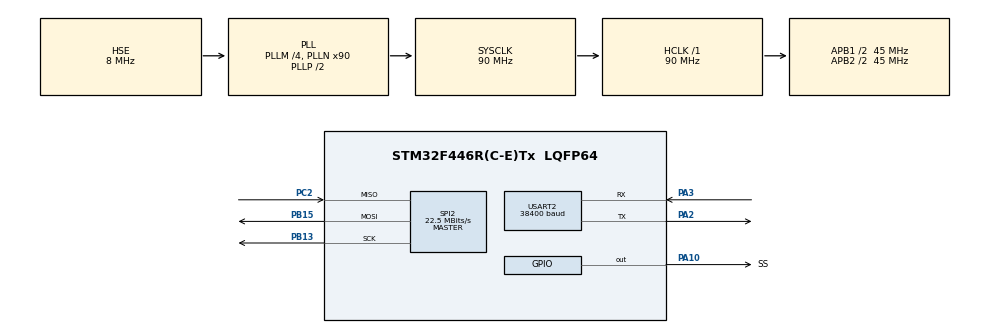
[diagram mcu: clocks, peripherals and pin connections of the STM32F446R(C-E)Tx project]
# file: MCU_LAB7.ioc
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Dma.Request0=SPI2_TX
Dma.Request1=USART2_RX
Dma.SPI2_TX.0.Direction=DMA_MEMORY_TO_PERIPH
Dma.SPI2_TX.0.FIFOMode=DMA_FIFOMODE_DISABLE
Dma.SPI2_TX.0.Instance=DMA1_Stream4
Dma.SPI2_TX.0.MemDataAlignment=DMA_MDATAALIGN_BYTE
Dma.SPI2_TX.0.MemInc=DMA_MINC_ENABLE
Dma.SPI2_TX.0.Mode=DMA_NORMAL
Dma.SPI2_TX.0.PeriphDataAlignment=DMA_PDATAALIGN_BYTE
Dma.SPI2_TX.0.PeriphInc=DMA_PINC_DISABLE
Dma.SPI2_TX.0.Priority=DMA_PRIORITY_LOW
Dma.USART2_RX.1.Direction=DMA_PERIPH_TO_MEMORY
Dma.USART2_RX.1.FIFOMode=DMA_FIFOMODE_DISABLE
Dma.USART2_RX.1.Instance=DMA1_Stream5
Dma.USART2_RX.1.MemDataAlignment=DMA_MDATAALIGN_BYTE
Dma.USART2_RX.1.MemInc=DMA_MINC_ENABLE
Dma.USART2_RX.1.Mode=DMA_NORMAL
Dma.USART2_RX.1.PeriphDataAlignment=DMA_PDATAALIGN_BYTE
Dma.USART2_RX.1.PeriphInc=DMA_PINC_DISABLE
Dma.USART2_RX.1.Priority=DMA_PRIORITY_LOW
Mcu.Family=STM32F4
Mcu.Name=STM32F446R(C-E)Tx
Mcu.Package=LQFP64
NVIC.DMA1_Stream4_IRQn=true\:0\:0\:false\:false\:true\:false\:true\:true
NVIC.DMA1_Stream5_IRQn=true\:0\:0\:false\:false\:true\:false\:true\:true
NVIC.PriorityGroup=NVIC_PRIORITYGROUP_4
NVIC.TIM1_BRK_TIM9_IRQn=true\:0\:0\:false\:false\:true\:true\:true\:true
NVIC.TIM1_CC_IRQn=true\:0\:0\:false\:false\:true\:true\:true\:true
NVIC.TIM1_TRG_COM_TIM11_IRQn=true\:0\:0\:false\:false\:true\:true\:true\:true
NVIC.TIM1_UP_TIM10_IRQn=true\:0\:0\:false\:false\:true\:true\:true\:true
PA10.GPIO_Label=SS
PA10.Signal=GPIO_Output
PA2.Mode=Asynchronous
PA2.Signal=USART2_TX
PA3.Mode=Asynchronous
PA3.Signal=USART2_RX
PB13.Mode=Full_Duplex_Master
PB13.Signal=SPI2_SCK
PB15.Mode=Full_Duplex_Master
PB15.Signal=SPI2_MOSI
PC2.Mode=Full_Duplex_Master
PC2.Signal=SPI2_MISO
PH0-OSC_IN.Mode=HSE-External-Oscillator
PH0-OSC_IN.Signal=RCC_OSC_IN
PH1-OSC_OUT.Mode=HSE-External-Oscillator
PH1-OSC_OUT.Signal=RCC_OSC_OUT
ProjectManager.HeapSize=0x200
ProjectManager.StackSize=0x400
ProjectManager.TargetToolchain=STM32CubeIDE
RCC.AHBFreq_Value=90000000
RCC.APB1CLKDivider=RCC_HCLK_DIV2
RCC.APB1Freq_Value=45000000
RCC.APB1TimFreq_Value=90000000
RCC.APB2CLKDivider=RCC_HCLK_DIV2
RCC.APB2Freq_Value=45000000
RCC.APB2TimFreq_Value=90000000
RCC.CortexFreq_Value=90000000
RCC.HCLKFreq_Value=90000000
RCC.HSE_VALUE=8000000
RCC.PLLM=4
RCC.PLLN=90
RCC.PLLSourceVirtual=RCC_PLLSOURCE_HSE
RCC.SYSCLKFreq_VALUE=90000000
RCC.SYSCLKSource=RCC_SYSCLKSOURCE_PLLCLK
RCC.USBFreq_Value=90000000
RCC.VCOOutputFreq_Value=180000000
SPI2.BaudRatePrescaler=SPI_BAUDRATEPRESCALER_2
SPI2.CalculateBaudRate=22.5 MBits/s
SPI2.Direction=SPI_DIRECTION_2LINES
SPI2.Mode=SPI_MODE_MASTER
SPI2.VirtualType=VM_MASTER
TIM1.Period=50000-1
TIM1.Prescaler=1800-1
USART2.BaudRate=38400
USART2.VirtualMode=VM_ASYNC
VP_TIM1_VS_ClockSourceINT.Mode=Internal
board=custom

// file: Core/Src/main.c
/* USER CODE BEGIN Header */
/**
  ******************************************************************************
  * @file           : main.c
  * @brief          : Main program body
  ******************************************************************************
  * @attention
  *
  * Copyright (c) 2024 STMicroelectronics.
  * All rights reserved.
  *
  * This software is licensed under terms that can be found in the LICENSE file
  * in the root directory of this software component.
  * If no LICENSE file comes with this software, it is provided AS-IS.
  *
  ******************************************************************************
  */
/* USER CODE END Header */
#include "main.h"

/* USER CODE BEGIN Includes */
#include <ctype.h>
#include <string.h>
/* USER CODE END Includes */

SPI_HandleTypeDef hspi2;
DMA_HandleTypeDef hdma_spi2_tx;

TIM_HandleTypeDef htim1;

UART_HandleTypeDef huart2;
DMA_HandleTypeDef hdma_usart2_rx;

/* USER CODE BEGIN PV */

const uint8_t segment_map[10] = {
    0x3F, // 0
    0x06, // 1
    0x5B, // 2
    0x4F, // 3
    0x66, // 4
    0x6D, // 5
    0x7D, // 6
    0x07, // 7
    0x7F, // 8
    0x6F  // 9
};

// data to be displayed on two 2481AS
uint8_t display_data[8] = {0x86, 0xdb, 0xcf, 0xe6, 0x87,  0x87, 0x87, 0xff};
uint8_t spi_tx_buffer[2];
uint8_t uart_rx_buffer[16];
uint32_t current_digit = 0;
/* USER CODE END PV */

void SystemClock_Config(void);
static void MX_GPIO_Init(void);
static void MX_DMA_Init(void);
static void MX_SPI2_Init(void);
static void MX_USART2_UART_Init(void);
static void MX_TIM1_Init(void);

/* USER CODE BEGIN 0 */

void update_display(void) {
	spi_tx_buffer[0] = display_data[current_digit];
	spi_tx_buffer[1] = ~(1 << current_digit);

    HAL_GPIO_WritePin(SS_GPIO_Port, SS_Pin, GPIO_PIN_RESET);
    HAL_SPI_Transmit_DMA(&hspi2, spi_tx_buffer, sizeof(spi_tx_buffer));
    HAL_GPIO_WritePin(SS_GPIO_Port, SS_Pin, GPIO_PIN_SET);

    current_digit = (current_digit + 1) % 8; // Следующий разряд
}

void parse_uart_command(char* command) {
    // check length: "" --> all empty
    if (strlen(command) < 15) return;

    for (int i = 0; i < 8; i++) {
        if (command[i * 2] == '_') {
        	display_data[i] = 0x00;
//            if (command[i * 2] + 1 == '.') display_data[i] = 0x80;
//            else if (command[i * 2] + 1 == '_') display_data[i] = 0x00;
        } else if (isdigit(command[i * 2])) {
            uint8_t num = command[i * 2] - '0';
            uint8_t dp = (command[i * 2 + 1] == '.') ? 0x80 : 0x00;
            display_data[i] = segment_map[num] | dp;
        }
    }
}

/* USER CODE END 0 */

int main(void)
{

  /* MCU Configuration--------------------------------------------------------*/

  /* Reset of all peripherals, Initializes the Flash interface and the Systick. */
  HAL_Init();

  /* Configure the system clock */
  SystemClock_Config();

  /* Initialize all configured peripherals */
  MX_GPIO_Init();
  MX_DMA_Init();
  MX_SPI2_Init();
  MX_USART2_UART_Init();
  MX_TIM1_Init();
  /* USER CODE BEGIN 2 */
//  HAL_UART_Receive_IT(&huart2, uart_rx_buffer, sizeof(uart_rx_buffer));
  HAL_UART_Receive_DMA(&huart2, uart_rx_buffer, sizeof(uart_rx_buffer));

  uint8_t spi_zero_buffer[2] = {0x00, 0x00};
  // clear shift register before program start
  HAL_GPIO_WritePin(SS_GPIO_Port, SS_Pin, GPIO_PIN_RESET);
  HAL_SPI_Transmit_DMA(&hspi2, spi_zero_buffer, sizeof(spi_zero_buffer));
  HAL_GPIO_WritePin(SS_GPIO_Port, SS_Pin, GPIO_PIN_SET);
  /* USER CODE END 2 */

  /* Infinite loop */
  /* USER CODE BEGIN WHILE */
  while (1)
  {
//	  HAL_UART_Receive_DMA(&huart2, uart_rx_buffer, sizeof(uart_rx_buffer));
	  update_display(); // dynamically
//	  HAL_Delay(10);
    /* USER CODE END WHILE */

  }
}

void SystemClock_Config(void)
{
  RCC_OscInitTypeDef RCC_OscInitStruct = {0};
  RCC_ClkInitTypeDef RCC_ClkInitStruct = {0};

  /** Configure the main internal regulator output voltage
  */
  __HAL_RCC_PWR_CLK_ENABLE();
  __HAL_PWR_VOLTAGESCALING_CONFIG(PWR_REGULATOR_VOLTAGE_SCALE3);

  /** Initializes the RCC Oscillators according to the specified parameters
  * in the RCC_OscInitTypeDef structure.
  */
  RCC_OscInitStruct.OscillatorType = RCC_OSCILLATORTYPE_HSE;
  RCC_OscInitStruct.HSEState = RCC_HSE_ON;
  RCC_OscInitStruct.PLL.PLLState = RCC_PLL_ON;
  RCC_OscInitStruct.PLL.PLLSource = RCC_PLLSOURCE_HSE;
  RCC_OscInitStruct.PLL.PLLM = 4;
  RCC_OscInitStruct.PLL.PLLN = 90;
  RCC_OscInitStruct.PLL.PLLP = RCC_PLLP_DIV2;
  RCC_OscInitStruct.PLL.PLLQ = 2;
  RCC_OscInitStruct.PLL.PLLR = 2;
  if (HAL_RCC_OscConfig(&RCC_OscInitStruct) != HAL_OK)
  {
    Error_Handler();
  }

  /** Initializes the CPU, AHB and APB buses clocks
  */
  RCC_ClkInitStruct.ClockType = RCC_CLOCKTYPE_HCLK|RCC_CLOCKTYPE_SYSCLK
                              |RCC_CLOCKTYPE_PCLK1|RCC_CLOCKTYPE_PCLK2;
  RCC_ClkInitStruct.SYSCLKSource = RCC_SYSCLKSOURCE_PLLCLK;
  RCC_ClkInitStruct.AHBCLKDivider = RCC_SYSCLK_DIV1;
  RCC_ClkInitStruct.APB1CLKDivider = RCC_HCLK_DIV2;
  RCC_ClkInitStruct.APB2CLKDivider = RCC_HCLK_DIV2;

  if (HAL_RCC_ClockConfig(&RCC_ClkInitStruct, FLASH_LATENCY_2) != HAL_OK)
  {
    Error_Handler();
  }
}

static void MX_SPI2_Init(void)
{

  /* SPI2 parameter configuration*/
  hspi2.Instance = SPI2;
  hspi2.Init.Mode = SPI_MODE_MASTER;
  hspi2.Init.Direction = SPI_DIRECTION_2LINES;
  hspi2.Init.DataSize = SPI_DATASIZE_8BIT;
  hspi2.Init.CLKPolarity = SPI_POLARITY_LOW;
  hspi2.Init.CLKPhase = SPI_PHASE_1EDGE;
  hspi2.Init.NSS = SPI_NSS_SOFT;
  hspi2.Init.BaudRatePrescaler = SPI_BAUDRATEPRESCALER_2;
  hspi2.Init.FirstBit = SPI_FIRSTBIT_MSB;
  hspi2.Init.TIMode = SPI_TIMODE_DISABLE;
  hspi2.Init.CRCCalculation = SPI_CRCCALCULATION_DISABLE;
  hspi2.Init.CRCPolynomial = 10;
  if (HAL_SPI_Init(&hspi2) != HAL_OK)
  {
    Error_Handler();
  }

}

static void MX_TIM1_Init(void)
{

  TIM_ClockConfigTypeDef sClockSourceConfig = {0};
  TIM_MasterConfigTypeDef sMasterConfig = {0};

  htim1.Instance = TIM1;
  htim1.Init.Prescaler = 1800-1;
  htim1.Init.CounterMode = TIM_COUNTERMODE_UP;
  htim1.Init.Period = 50000-1;
  htim1.Init.ClockDivision = TIM_CLOCKDIVISION_DIV1;
  htim1.Init.RepetitionCounter = 0;
  htim1.Init.AutoReloadPreload = TIM_AUTORELOAD_PRELOAD_DISABLE;
  if (HAL_TIM_Base_Init(&htim1) != HAL_OK)
  {
    Error_Handler();
  }
  sClockSourceConfig.ClockSource = TIM_CLOCKSOURCE_INTERNAL;
  if (HAL_TIM_ConfigClockSource(&htim1, &sClockSourceConfig) != HAL_OK)
  {
    Error_Handler();
  }
  sMasterConfig.MasterOutputTrigger = TIM_TRGO_RESET;
  sMasterConfig.MasterSlaveMode = TIM_MASTERSLAVEMODE_DISABLE;
  if (HAL_TIMEx_MasterConfigSynchronization(&htim1, &sMasterConfig) != HAL_OK)
  {
    Error_Handler();
  }

}

static void MX_USART2_UART_Init(void)
{

  huart2.Instance = USART2;
  huart2.Init.BaudRate = 38400;
  huart2.Init.WordLength = UART_WORDLENGTH_8B;
  huart2.Init.StopBits = UART_STOPBITS_1;
  huart2.Init.Parity = UART_PARITY_NONE;
  huart2.Init.Mode = UART_MODE_TX_RX;
  huart2.Init.HwFlowCtl = UART_HWCONTROL_NONE;
  huart2.Init.OverSampling = UART_OVERSAMPLING_16;
  if (HAL_UART_Init(&huart2) != HAL_OK)
  {
    Error_Handler();
  }

}

static void MX_DMA_Init(void)
{

  /* DMA controller clock enable */
  __HAL_RCC_DMA1_CLK_ENABLE();

  /* DMA interrupt init */
  /* DMA1_Stream4_IRQn interrupt configuration */
  HAL_NVIC_SetPriority(DMA1_Stream4_IRQn, 0, 0);
  HAL_NVIC_EnableIRQ(DMA1_Stream4_IRQn);
  /* DMA1_Stream5_IRQn interrupt configuration */
  HAL_NVIC_SetPriority(DMA1_Stream5_IRQn, 0, 0);
  HAL_NVIC_EnableIRQ(DMA1_Stream5_IRQn);

}

static void MX_GPIO_Init(void)
{
  GPIO_InitTypeDef GPIO_InitStruct = {0};

  /* GPIO Ports Clock Enable */
  __HAL_RCC_GPIOH_CLK_ENABLE();
  __HAL_RCC_GPIOC_CLK_ENABLE();
  __HAL_RCC_GPIOA_CLK_ENABLE();
  __HAL_RCC_GPIOB_CLK_ENABLE();

  /*Configure GPIO pin Output Level */
  HAL_GPIO_WritePin(SS_GPIO_Port, SS_Pin, GPIO_PIN_RESET);

  /*Configure GPIO pin : SS_Pin */
  GPIO_InitStruct.Pin = SS_Pin;
  GPIO_InitStruct.Mode = GPIO_MODE_OUTPUT_PP;
  GPIO_InitStruct.Pull = GPIO_NOPULL;
  GPIO_InitStruct.Speed = GPIO_SPEED_FREQ_LOW;
  HAL_GPIO_Init(SS_GPIO_Port, &GPIO_InitStruct);

}

/* USER CODE BEGIN 4 */

void HAL_UART_RxCpltCallback(UART_HandleTypeDef *huart) {
    if (huart->Instance == USART2) {
        parse_uart_command((char*)uart_rx_buffer);
        //relaunch uart it
//        HAL_UART_Receive_IT(&huart2, uart_rx_buffer, sizeof(uart_rx_buffer));
        HAL_UART_Receive_DMA(&huart2, uart_rx_buffer, sizeof(uart_rx_buffer));
    }
}

//void HAL_TIM_PeriodElapsedCallback(TIM_HandleTypeDef* htim)
//{
//	if (htim->Instance == TIM1)
//	{
////		update_display_with_number();
//	}
//}

/* USER CODE END 4 */

void Error_Handler(void)
{
  __disable_irq();
  while (1)
  {
  }
}
